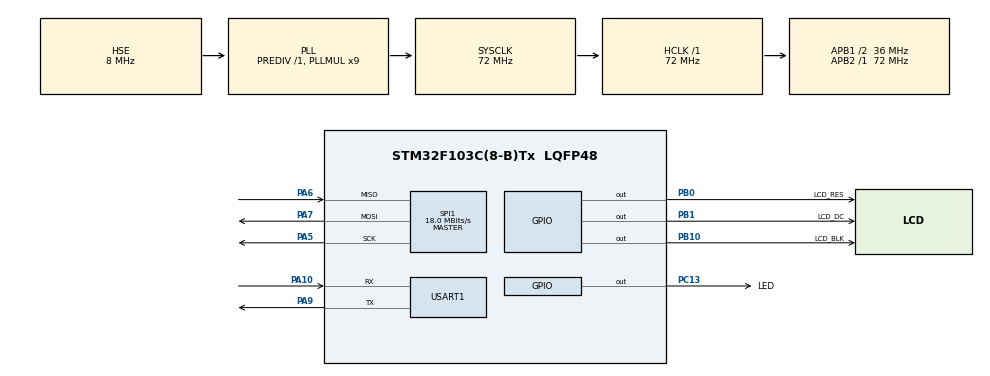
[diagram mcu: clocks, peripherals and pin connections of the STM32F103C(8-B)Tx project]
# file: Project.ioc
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Mcu.Family=STM32F1
Mcu.Name=STM32F103C(8-B)Tx
Mcu.Package=LQFP48
NVIC.PriorityGroup=NVIC_PRIORITYGROUP_4
NVIC.USART1_IRQn=true\:1\:0\:true\:false\:true\:true\:true\:true
PA10.Mode=Asynchronous
PA10.Signal=USART1_RX
PA13.Mode=Serial_Wire
PA13.Signal=SYS_JTMS-SWDIO
PA14.Mode=Serial_Wire
PA14.Signal=SYS_JTCK-SWCLK
PA5.Mode=Full_Duplex_Master
PA5.Signal=SPI1_SCK
PA6.Mode=Full_Duplex_Master
PA6.Signal=SPI1_MISO
PA7.Mode=Full_Duplex_Master
PA7.Signal=SPI1_MOSI
PA9.Mode=Asynchronous
PA9.Signal=USART1_TX
PB0.GPIO_Label=LCD_RES
PB0.GPIO_PuPd=GPIO_PULLUP
PB0.GPIO_Speed=GPIO_SPEED_FREQ_HIGH
PB0.PinState=GPIO_PIN_SET
PB0.Signal=GPIO_Output
PB1.GPIO_Label=LCD_DC
PB1.GPIO_ModeDefaultOutputPP=GPIO_MODE_OUTPUT_PP
PB1.GPIO_PuPd=GPIO_PULLUP
PB1.GPIO_Speed=GPIO_SPEED_FREQ_HIGH
PB1.PinState=GPIO_PIN_SET
PB1.Signal=GPIO_Output
PB10.GPIO_Label=LCD_BLK
PB10.GPIO_PuPd=GPIO_PULLUP
PB10.GPIO_Speed=GPIO_SPEED_FREQ_HIGH
PB10.PinState=GPIO_PIN_SET
PB10.Signal=GPIO_Output
PC13-TAMPER-RTC.GPIO_Label=LED
PC13-TAMPER-RTC.GPIO_ModeDefaultOutputPP=GPIO_MODE_OUTPUT_PP
PC13-TAMPER-RTC.GPIO_PuPd=GPIO_PULLUP
PC13-TAMPER-RTC.GPIO_Speed=GPIO_SPEED_FREQ_MEDIUM
PC13-TAMPER-RTC.PinState=GPIO_PIN_SET
PC13-TAMPER-RTC.Signal=GPIO_Output
PC14-OSC32_IN.Mode=LSE-External-Oscillator
PC14-OSC32_IN.Signal=RCC_OSC32_IN
PC15-OSC32_OUT.Mode=LSE-External-Oscillator
PC15-OSC32_OUT.Signal=RCC_OSC32_OUT
PD0-OSC_IN.Mode=HSE-External-Oscillator
PD0-OSC_IN.Signal=RCC_OSC_IN
PD1-OSC_OUT.Mode=HSE-External-Oscillator
PD1-OSC_OUT.Signal=RCC_OSC_OUT
ProjectManager.HeapSize=0x200
ProjectManager.StackSize=0x400
ProjectManager.TargetToolchain=MDK-ARM V5.32
RCC.AHBFreq_Value=72000000
RCC.APB1CLKDivider=RCC_HCLK_DIV2
RCC.APB1Freq_Value=36000000
RCC.APB1TimFreq_Value=72000000
RCC.APB2Freq_Value=72000000
RCC.APB2TimFreq_Value=72000000
RCC.HCLKFreq_Value=72000000
RCC.PLLMUL=RCC_PLL_MUL9
RCC.PLLSourceVirtual=RCC_PLLSOURCE_HSE
RCC.SYSCLKFreq_VALUE=72000000
RCC.SYSCLKSource=RCC_SYSCLKSOURCE_PLLCLK
RCC.USBFreq_Value=72000000
SPI1.BaudRatePrescaler=SPI_BAUDRATEPRESCALER_4
SPI1.CLKPolarity=SPI_POLARITY_HIGH
SPI1.CalculateBaudRate=18.0 MBits/s
SPI1.Direction=SPI_DIRECTION_2LINES
SPI1.Mode=SPI_MODE_MASTER
SPI1.VirtualType=VM_MASTER
USART1.VirtualMode=VM_ASYNC
board=custom

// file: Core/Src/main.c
/* USER CODE BEGIN Header */
/**
  ******************************************************************************
  * @file           : main.c
  * @brief          : Main program body
  ******************************************************************************
  * @attention
  *
  * Copyright (c) 2025 STMicroelectronics.
  * All rights reserved.
  *
  * This software is licensed under terms that can be found in the LICENSE file
  * in the root directory of this software component.
  * If no LICENSE file comes with this software, it is provided AS-IS.
  *
  ******************************************************************************
  */
/* USER CODE END Header */
#include "main.h"
#include "spi.h"
#include "usart.h"
#include "gpio.h"

/* USER CODE BEGIN Includes */
#include "stdio.h"
#include "delay.h"
#include "st7789.h"
#include "pic.h"
/* USER CODE END Includes */

void SystemClock_Config(void);

/* USER CODE BEGIN 0 */
uint8_t usart_rev_data;//定义一个全局变量
void HAL_UART_RxCpltCallback(UART_HandleTypeDef *huart)
{
    if(huart->Instance == USART1)//假如有串口1触发接收中断
    {
		//直接处理 usart_rev_data 就行了

		HAL_UART_Receive_IT(&huart1,&usart_rev_data,1);
    }
}
/* USER CODE END 0 */

int main(void)
{

  /* USER CODE BEGIN 1 */
	uint8_t i,j;
	float t=0;
  /* USER CODE END 1 */

  /* MCU Configuration--------------------------------------------------------*/

  /* Reset of all peripherals, Initializes the Flash interface and the Systick. */
  HAL_Init();

  /* Configure the system clock */
  SystemClock_Config();

  /* Initialize all configured peripherals */
  MX_GPIO_Init();
  MX_USART1_UART_Init();
  MX_SPI1_Init();
  /* USER CODE BEGIN 2 */
	DWT_Delay_Init();
	__HAL_UART_ENABLE_IT(&huart1,UART_IT_RXNE);
	HAL_UART_Receive_IT(&huart1,&usart_rev_data,1);
	LCD_Init( );
	LCD_Fill(0,0,LCD_W,LCD_H,WHITE);
	printf("init finished!\r\n");
  /* USER CODE END 2 */

  /* Infinite loop */
  /* USER CODE BEGIN WHILE */
  while (1)
  {
		LCD_ShowChinese(0,0,"中景园电子",RED,WHITE,32,0);
		LCD_ShowString(0,40,"LCD_W:",RED,WHITE,16,0);
		LCD_ShowIntNum(48,40,LCD_W,3,RED,WHITE,16);
		LCD_ShowString(80,40,"LCD_H:",RED,WHITE,16,0);
		LCD_ShowIntNum(128,40,LCD_H,3,RED,WHITE,16);
		LCD_ShowString(80,40,"LCD_H:",RED,WHITE,16,0);
		LCD_ShowString(0,70,"Increaseing Nun:",RED,WHITE,16,0);
		LCD_ShowFloatNum1(128,70,t,4,RED,WHITE,16);
		t+=0.11;
		for(j=0;j<3;j++)
		{
			for(i=0;i<6;i++)
			{
				LCD_ShowPicture(40*i,120+j*40,40,40,gImage_1);
			}
		}
    /* USER CODE END WHILE */

  }
}

void SystemClock_Config(void)
{
  RCC_OscInitTypeDef RCC_OscInitStruct = {0};
  RCC_ClkInitTypeDef RCC_ClkInitStruct = {0};

  /** Initializes the RCC Oscillators according to the specified parameters
  * in the RCC_OscInitTypeDef structure.
  */
  RCC_OscInitStruct.OscillatorType = RCC_OSCILLATORTYPE_HSE;
  RCC_OscInitStruct.HSEState = RCC_HSE_ON;
  RCC_OscInitStruct.HSEPredivValue = RCC_HSE_PREDIV_DIV1;
  RCC_OscInitStruct.HSIState = RCC_HSI_ON;
  RCC_OscInitStruct.PLL.PLLState = RCC_PLL_ON;
  RCC_OscInitStruct.PLL.PLLSource = RCC_PLLSOURCE_HSE;
  RCC_OscInitStruct.PLL.PLLMUL = RCC_PLL_MUL9;
  if (HAL_RCC_OscConfig(&RCC_OscInitStruct) != HAL_OK)
  {
    Error_Handler();
  }

  /** Initializes the CPU, AHB and APB buses clocks
  */
  RCC_ClkInitStruct.ClockType = RCC_CLOCKTYPE_HCLK|RCC_CLOCKTYPE_SYSCLK
                              |RCC_CLOCKTYPE_PCLK1|RCC_CLOCKTYPE_PCLK2;
  RCC_ClkInitStruct.SYSCLKSource = RCC_SYSCLKSOURCE_PLLCLK;
  RCC_ClkInitStruct.AHBCLKDivider = RCC_SYSCLK_DIV1;
  RCC_ClkInitStruct.APB1CLKDivider = RCC_HCLK_DIV2;
  RCC_ClkInitStruct.APB2CLKDivider = RCC_HCLK_DIV1;

  if (HAL_RCC_ClockConfig(&RCC_ClkInitStruct, FLASH_LATENCY_2) != HAL_OK)
  {
    Error_Handler();
  }
}

void Error_Handler(void)
{
  __disable_irq();
  while (1)
  {
  }
}
